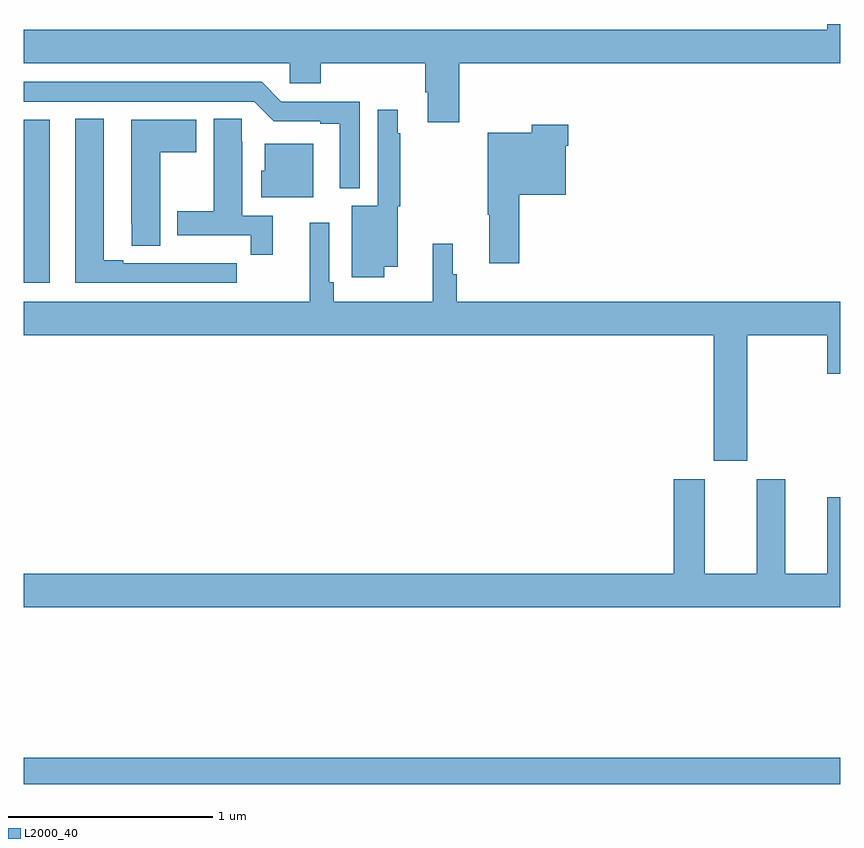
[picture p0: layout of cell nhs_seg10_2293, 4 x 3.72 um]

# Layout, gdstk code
import gdstk
lib = gdstk.Library(unit=1e-6, precision=1e-09)
def R(c, l, rs):  # rectangles x0, y0, x1, y1
    for r in rs: c.add(gdstk.rectangle(r[:2], r[2:], *l))
def P(c, l, *ps):  # polygons
    for p in ps: c.add(gdstk.Polygon(p, *l))
L2000_40 = (2000, 40)

nhs_seg10_2293 = lib.new_cell('nhs_seg10_2293')
R(nhs_seg10_2293, L2000_40, [(233,1304.778,237,1304.906), (233,1307.232,233.128,1308.03)])
P(nhs_seg10_2293, L2000_40, [(235.133,1308.308),(237,1308.308),(237,1308.5),(236.936,1308.5),(236.936,1308.472),(233,1308.472),(233,1308.308),(234.303,1308.308),(234.303,1308.21),(234.455,1308.21),(234.455,1308.308),(234.968,1308.308),(234.968,1308.166),(234.98,1308.166),(234.98,1308.018),(235.133,1308.018)],
  [(234.645,1308.12),(234.261,1308.12),(234.165,1308.216),(233,1308.216),(233,1308.12),(234.129,1308.12),(234.225,1308.024),(234.452,1308.024),(234.452,1308.012),(234.548,1308.012),(234.548,1307.696),(234.645,1307.696)],
  [(234.766,1307.312),(234.832,1307.312),(234.832,1307.607),(234.844,1307.607),(234.844,1307.966),(234.832,1307.966),(234.832,1308.079),(234.735,1308.079),(234.735,1307.611),(234.608,1307.611),(234.608,1307.259),(234.766,1307.259)],
  [(234.043,1307.328),(233.93,1307.328),(233.93,1307.329),(233.764,1307.329),(233.764,1307.328),(233.488,1307.328),(233.488,1307.343),(233.392,1307.343),(233.392,1308.035),(233.252,1308.035),(233.252,1307.232),(234.043,1307.232)],
  [(234.221,1307.562),(234.07,1307.562),(234.07,1307.924),(234.069,1307.924),(234.069,1308.035),(233.93,1308.035),(233.93,1307.583),(233.753,1307.583),(233.753,1307.466),(234.112,1307.466),(234.112,1307.37),(234.221,1307.37)],
  [(233.668,1307.872),(233.845,1307.872),(233.845,1308.031),(233.528,1308.031),(233.528,1307.521),(233.529,1307.521),(233.529,1307.413),(233.668,1307.413)],
  [(235.427,1307.663),(235.654,1307.663),(235.654,1307.903),(235.667,1307.903),(235.667,1308.007),(235.489,1308.007),(235.489,1307.968),(235.273,1307.968),(235.273,1307.567),(235.28,1307.567),(235.28,1307.328),(235.427,1307.328)],
  [(234.418,1307.914),(234.182,1307.914),(234.182,1307.781),(234.164,1307.781),(234.164,1307.651),(234.418,1307.651)],
  [(236.545,1306.976),(236.936,1306.976),(236.936,1306.788),(237,1306.788),(237,1307.14),(235.121,1307.14),(235.121,1307.274),(235.102,1307.274),(235.102,1307.425),(235.003,1307.425),(235.003,1307.14),(234.518,1307.14),(234.518,1307.236),(234.498,1307.236),(234.498,1307.527),(234.401,1307.527),(234.401,1307.14),(233,1307.14),(233,1306.976),(236.381,1306.976),(236.381,1306.362),(236.545,1306.362)],
  [(237,1306.183),(236.936,1306.183),(236.936,1305.808),(236.731,1305.808),(236.731,1306.27),(236.591,1306.27),(236.591,1305.808),(236.335,1305.808),(236.335,1306.27),(236.183,1306.27),(236.183,1305.808),(233,1305.808),(233,1305.644),(237,1305.644)])

lib.write_gds('nhs_seg10_2293.gds')
